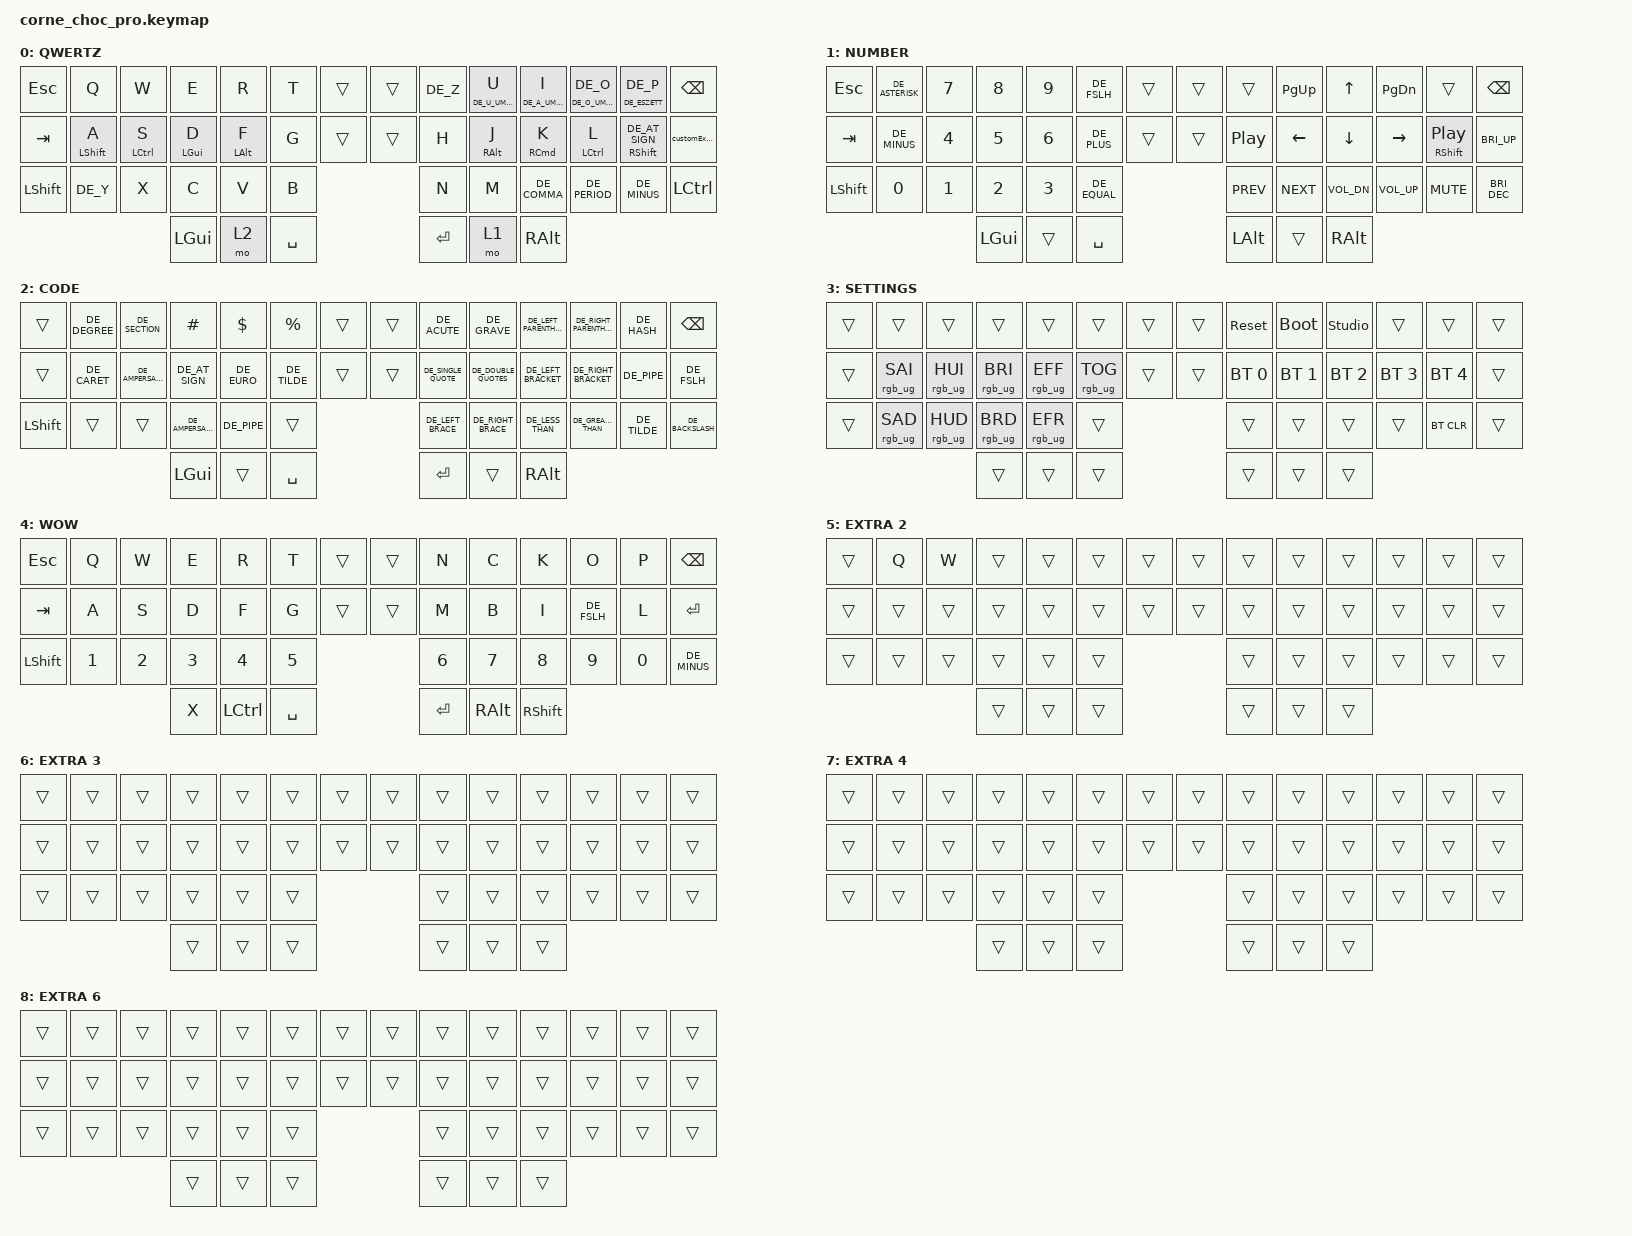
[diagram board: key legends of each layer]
/*
 * Copyright (c) 2020 The ZMK Contributors
 *
 * SPDX-License-Identifier: MIT
 */

#include "keys_de.h"
#include <behaviors.dtsi>
#include <dt-bindings/zmk/bt.h>
#include <dt-bindings/zmk/keys.h>
#include <dt-bindings/zmk/rgb.h>

/ {
    chosen { zmk,physical-layout = &default_layout; };
};

/ {
    behaviors {
        HRShiftR: HRShiftR {
            compatible = "zmk,behavior-hold-tap";
            label = "HRSHIFTR";
            #binding-cells = <2>;
            tapping-term-ms = <250>;
            quick-tap-ms = <175>;
            require-prior-idle-ms = <80>;
            flavor = "balanced";
            bindings = <&kp>, <&kp>;

            // Left hand positions (including thumb)

            hold-trigger-key-positions = <0 1 2 3 4 5 14 15 16 17 18 19 28 29 30 31 32 33>;
            hold-trigger-on-release;
        };

        HRShiftL: HRShiftL {
            compatible = "zmk,behavior-hold-tap";
            label = "HRSHIFTL";
            #binding-cells = <2>;
            tapping-term-ms = <250>;
            quick-tap-ms = <175>;
            require-prior-idle-ms = <80>;
            flavor = "balanced";
            bindings = <&kp>, <&kp>;

            // Right hand positions (including thumb)

            hold-trigger-key-positions = <8 9 10 11 12 13 22 23 24 25 26 27 34 35 36 37 38 39>;
            hold-trigger-on-release;
        };

        HMbtn: HMbtn {
            compatible = "zmk,behavior-hold-tap";
            #binding-cells = <2>;
            tapping-term-ms = <280>;
            quick-tap-ms = <175>;
            require-prior-idle-ms = <150>;
            flavor = "tap-preferred";
            bindings = <&kp>, <&kp>;
        };

        customExQu: customExQu {
            compatible = "zmk,behavior-mod-morph";
            label = "CUSTOMEXQU";
            #binding-cells = <0>;
            bindings = <&kp LS(DE_N1)>, <&kp LS(DE_ESZETT)>;

            mods = <(MOD_LSFT|MOD_RSFT)>;
        };

        paren_lr: paren_lr {
            compatible = "zmk,behavior-mod-morph";
            label = "PAREN_LR";
            #binding-cells = <0>;
            bindings = <&kp LS(DE_N8)>, <&kp LS(DE_N9)>;

            mods = <(MOD_LSFT|MOD_RSFT)>;
        };
    };

    combos {
        compatible = "zmk,combos";

        Layer3 {
            bindings = <&mo 3>;
            key-positions = <41 44>;
        };

        fn {
            bindings = <&kp GLOBE>;
            key-positions = <38 39>;
            slow-release;
            layers = <0>;
            require-prior-idle-ms = <200>;
        };

        cmd+ctr+4 {
            bindings = <&kp LS(LG(DE_N4))>;
            key-positions = <3 4>;
            layers = <0>;
            require-prior-idle-ms = <350>;
            timeout-ms = <50>;
        };

        // Combo to ENTER WoW gaming layer (layer 5)
        // Press Q + P together on the default layer to switch to WoW.
        // Position 1 = Q, Position 12 = P (top row 5th from right-half left)

        wow_enter {
            bindings = <&to 4>;
            key-positions = <1 12>;
            layers = <0>;
            timeout-ms = <50>;
            require-prior-idle-ms = <350>;
        };

        // Combo to EXIT WoW gaming layer (back to layer 0)
        // Same Q + P positions as enter - just one combo to remember.
        // On the WoW layer, position 12 still holds P so Q+P still works.

        wow_exit {
            bindings = <&to 0>;
            key-positions = <1 12>;
            layers = <4>;
            timeout-ms = <50>;
            require-prior-idle-ms = <350>;
        };
    };

    keymap {
        compatible = "zmk,keymap";

        default_layer {
            display-name = "QWERTZ";
            bindings = <
&kp ESC    &kp Q                   &kp W           &kp E              &kp R          &kp T      &trans  &trans  &kp DE_Z  &HMbtn DE_U_UMLAUT U  &HMbtn DE_A_UMLAUT I  &HMbtn DE_O_UMLAUT DE_O  &HMbtn DE_ESZETT DE_P             &kp BSPC
&kp TAB    &HRShiftL LEFT_SHIFT A  &HMbtn LCTRL S  &HMbtn LEFT_GUI D  &HMbtn LALT F  &kp G      &trans  &trans  &kp H     &HMbtn RIGHT_ALT J    &HMbtn RCMD K         &HMbtn LCTRL L           &HRShiftR RIGHT_SHIFT DE_AT_SIGN  &customExQu
&kp LSHFT  &kp DE_Y                &kp X           &kp C              &kp V          &kp B                      &kp N     &kp M                 &kp DE_COMMA          &kp DE_PERIOD            &kp DE_MINUS                      &kp LCTRL
                                                   &kp LGUI           &mo 2          &kp SPACE                  &kp RET   &mo 1                 &kp RALT
            >;
        };

        lower_layer {
            display-name = "NUMBER";
            bindings = <
&kp ESC    &kp DE_ASTERISK  &kp N7  &kp N8    &kp N9  &kp DE_FSLH   &trans  &trans  &trans            &kp PAGE_UP     &kp UP         &kp PAGE_DOWN    &trans                              &kp BSPC
&kp TAB    &kp DE_MINUS     &kp N4  &kp N5    &kp N6  &kp DE_PLUS   &trans  &trans  &kp C_PLAY_PAUSE  &kp LEFT_ARROW  &kp DOWN       &kp RIGHT        &HRShiftR RIGHT_SHIFT C_PLAY_PAUSE  &kp C_BRI_UP
&kp LSHFT  &kp N0           &kp N1  &kp N2    &kp N3  &kp DE_EQUAL                  &kp C_PREV        &kp C_NEXT      &kp C_VOL_DN   &kp C_VOLUME_UP  &kp C_MUTE                          &kp C_BRI_DEC
                                    &kp LGUI  &trans  &kp SPACE                     &kp LALT          &trans          &kp RIGHT_ALT
            >;
        };

        raise_layer {
            display-name = "CODE";
            bindings = <
&trans     &kp DE_DEGREE  &kp DE_SECTION    &kp HASH          &kp DLLR     &kp PRCNT     &trans  &trans  &kp DE_ACUTE         &kp DE_GRAVE          &kp DE_LEFT_PARENTHESIS  &kp DE_RIGHT_PARENTHESIS  &kp DE_HASH   &kp BSPC
&trans     &kp DE_CARET   &kp DE_AMPERSAND  &kp DE_AT_SIGN    &kp DE_EURO  &kp DE_TILDE  &trans  &trans  &kp DE_SINGLE_QUOTE  &kp DE_DOUBLE_QUOTES  &kp DE_LEFT_BRACKET      &kp DE_RIGHT_BRACKET      &kp DE_PIPE   &kp DE_FSLH
&kp LSHFT  &trans         &trans            &kp DE_AMPERSAND  &kp DE_PIPE  &trans                        &kp DE_LEFT_BRACE    &kp DE_RIGHT_BRACE    &kp DE_LESS_THAN         &kp DE_GREATER_THAN       &kp DE_TILDE  &kp DE_BACKSLASH
                                            &kp LGUI          &trans       &kp SPACE                     &kp RET              &trans                &kp RALT
            >;
        };

        extra_layer_1 {
            display-name = "SETTINGS";
            bindings = <
&trans  &trans           &trans           &trans           &trans           &trans           &trans  &trans  &sys_reset    &bootloader   &studio_unlock  &trans        &trans        &trans
&trans  &rgb_ug RGB_SAI  &rgb_ug RGB_HUI  &rgb_ug RGB_BRI  &rgb_ug RGB_EFF  &rgb_ug RGB_TOG  &trans  &trans  &bt BT_SEL 0  &bt BT_SEL 1  &bt BT_SEL 2    &bt BT_SEL 3  &bt BT_SEL 4  &trans
&trans  &rgb_ug RGB_SAD  &rgb_ug RGB_HUD  &rgb_ug RGB_BRD  &rgb_ug RGB_EFR  &trans                           &trans        &trans        &trans          &trans        &bt BT_CLR    &trans
                                          &trans           &trans           &trans                           &trans        &trans        &trans
            >;
        };

        wow_layer {
            display-name = "WOW";
            bindings = <
&kp ESC    &kp Q   &kp W   &kp E   &kp R      &kp T      &trans  &trans  &kp N    &kp C     &kp K      &kp O        &kp P   &kp BSPC
&kp TAB    &kp A   &kp S   &kp D   &kp F      &kp G      &trans  &trans  &kp M    &kp B     &kp I      &kp DE_FSLH  &kp L   &kp RET
&kp LSHFT  &kp N1  &kp N2  &kp N3  &kp N4     &kp N5                     &kp N6   &kp N7    &kp N8     &kp N9       &kp N0  &kp DE_MINUS
                           &kp X   &kp LCTRL  &kp SPACE                  &kp RET  &kp RALT  &kp RSHFT
            >;
        };

        extra_layer_2 {
            display-name = "EXTRA 2";
            bindings = <
&trans  &kp Q   &kp W   &trans  &trans  &trans  &trans  &trans  &trans  &trans  &trans  &trans  &trans  &trans
&trans  &trans  &trans  &trans  &trans  &trans  &trans  &trans  &trans  &trans  &trans  &trans  &trans  &trans
&trans  &trans  &trans  &trans  &trans  &trans                  &trans  &trans  &trans  &trans  &trans  &trans
                        &trans  &trans  &trans                  &trans  &trans  &trans
            >;
        };

        extra_layer_3 {
            display-name = "EXTRA 3";
            bindings = <
&trans  &trans  &trans  &trans  &trans  &trans  &trans  &trans  &trans  &trans  &trans  &trans  &trans  &trans
&trans  &trans  &trans  &trans  &trans  &trans  &trans  &trans  &trans  &trans  &trans  &trans  &trans  &trans
&trans  &trans  &trans  &trans  &trans  &trans                  &trans  &trans  &trans  &trans  &trans  &trans
                        &trans  &trans  &trans                  &trans  &trans  &trans
            >;
        };

        extra_layer_4 {
            display-name = "EXTRA 4";
            bindings = <
&trans  &trans  &trans  &trans  &trans  &trans  &trans  &trans  &trans  &trans  &trans  &trans  &trans  &trans
&trans  &trans  &trans  &trans  &trans  &trans  &trans  &trans  &trans  &trans  &trans  &trans  &trans  &trans
&trans  &trans  &trans  &trans  &trans  &trans                  &trans  &trans  &trans  &trans  &trans  &trans
                        &trans  &trans  &trans                  &trans  &trans  &trans
            >;
        };

        extra_layer_6 {
            display-name = "EXTRA 6";
            bindings = <
&trans  &trans  &trans  &trans  &trans  &trans  &trans  &trans  &trans  &trans  &trans  &trans  &trans  &trans
&trans  &trans  &trans  &trans  &trans  &trans  &trans  &trans  &trans  &trans  &trans  &trans  &trans  &trans
&trans  &trans  &trans  &trans  &trans  &trans                  &trans  &trans  &trans  &trans  &trans  &trans
                        &trans  &trans  &trans                  &trans  &trans  &trans
            >;
        };
    };
};
